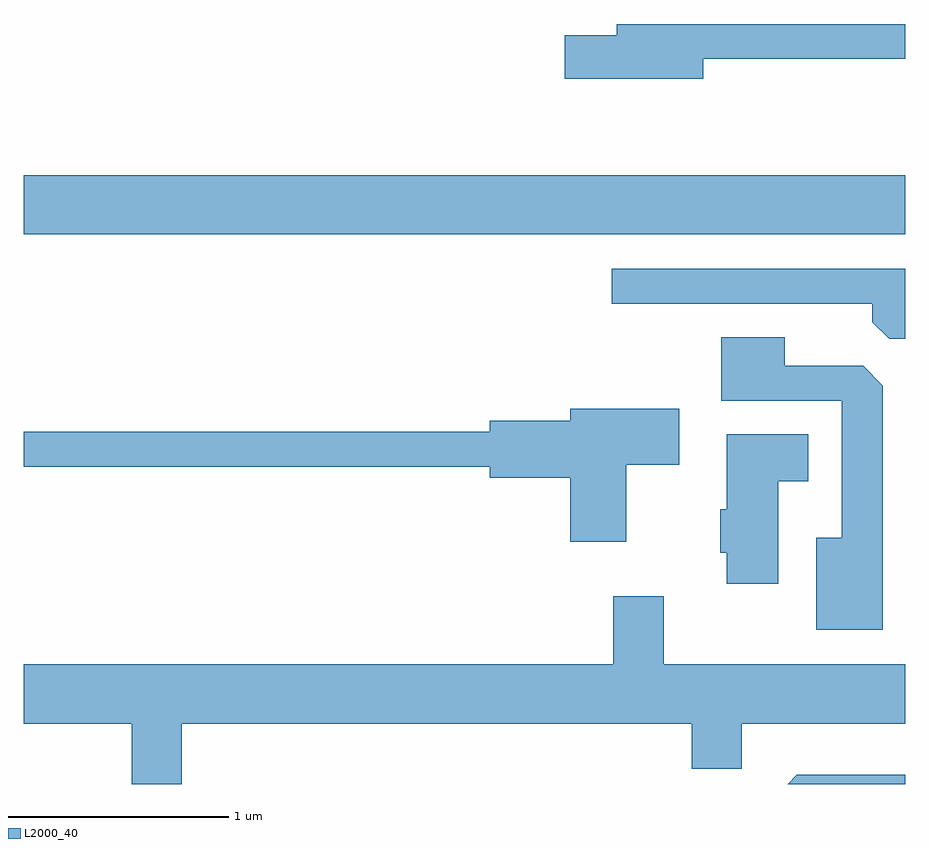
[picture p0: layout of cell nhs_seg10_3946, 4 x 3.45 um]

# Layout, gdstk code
import gdstk
lib = gdstk.Library(unit=1e-6, precision=1e-09)
def R(c, l, rs):  # rectangles x0, y0, x1, y1
    for r in rs: c.add(gdstk.rectangle(r[:2], r[2:], *l))
def P(c, l, *ps):  # polygons
    for p in ps: c.add(gdstk.Polygon(p, *l))
L2000_40 = (2000, 40)

nhs_seg10_3946 = lib.new_cell('nhs_seg10_3946')
R(nhs_seg10_3946, L2000_40, [(301.611,2125.016,305.611,2125.284)])
P(nhs_seg10_3946, L2000_40, [(304.694,2125.811),(305.611,2125.811),(305.611,2125.969),(304.301,2125.969),(304.301,2125.919),(304.066,2125.919),(304.066,2125.721),(304.694,2125.721)],
  [(305.611,2124.859),(304.278,2124.859),(304.278,2124.701),(305.461,2124.701),(305.461,2124.617),(305.537,2124.541),(305.611,2124.541)],
  [(305.509,2124.329),(305.419,2124.419),(305.064,2124.419),(305.064,2124.549),(304.776,2124.549),(304.776,2124.261),(305.321,2124.261),(305.321,2123.639),(305.206,2123.639),(305.206,2123.221),(305.509,2123.221)],
  [(304.344,2123.971),(304.584,2123.971),(304.584,2124.224),(304.091,2124.224),(304.091,2124.169),(303.726,2124.169),(303.726,2124.119),(301.611,2124.119),(301.611,2123.961),(303.726,2123.961),(303.726,2123.911),(304.091,2123.911),(304.091,2123.621),(304.344,2123.621)],
  [(305.034,2123.896),(305.169,2123.896),(305.169,2124.109),(304.801,2124.109),(304.801,2123.769),(304.771,2123.769),(304.771,2123.571),(304.801,2123.571),(304.801,2123.431),(305.034,2123.431)],
  [(302.329,2122.796),(304.641,2122.796),(304.641,2122.591),(304.869,2122.591),(304.869,2122.796),(305.611,2122.796),(305.611,2123.064),(304.514,2123.064),(304.514,2123.374),(304.286,2123.374),(304.286,2123.064),(301.611,2123.064),(301.611,2122.796),(302.101,2122.796),(302.101,2122.522),(302.329,2122.522)],
  [(305.611,2122.564),(305.119,2122.564),(305.077,2122.522),(305.611,2122.522)])

lib.write_gds('nhs_seg10_3946.gds')
